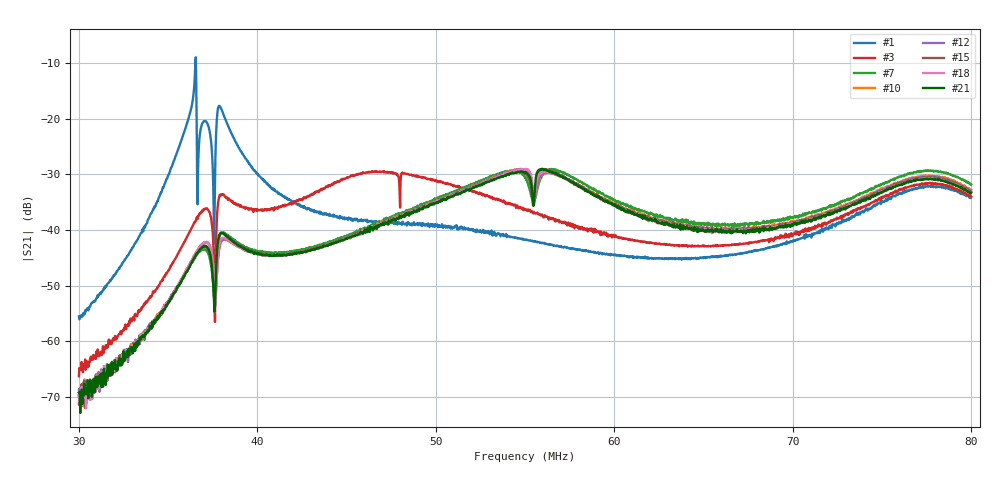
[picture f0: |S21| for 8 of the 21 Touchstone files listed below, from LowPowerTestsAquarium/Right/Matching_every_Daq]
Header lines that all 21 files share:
#  HZ  S  DB  R  50.00
! Rohde & Schwarz Vector Network Analyzer
! Rohde-Schwarz,ZNB8-4Port,1311601044102961,2.82
! freq[Hz]  db:S11  ang:S11  db:S12  ang:S12  db:S13  ang:S13  db:S14  ang:S14
!  db:S21  ang:S21  db:S22  ang:S22  db:S23  ang:S23  db:S24  ang:S24
!  db:S31  ang:S31  db:S32  ang:S32  db:S33  ang:S33  db:S34  ang:S34
!  db:S41  ang:S41  db:S42  ang:S42  db:S43  ang:S43  db:S44  ang:S44
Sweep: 30 MHz to 80 MHz
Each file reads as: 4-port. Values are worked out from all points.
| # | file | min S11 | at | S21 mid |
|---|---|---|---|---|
| 1 | IC3_Right_36p5MHz_DaqMLarge_1.s4p | -1.7 dB | 37.75 MHz | -41.8 dB at 55 MHz |
| 2 | IC3_Right_48p0MHz_DaqMLarge_1.s4p | -1.7 dB | 37.73 MHz | -36.1 dB at 55 MHz |
| 3 | IC3_Right_48p0MHz_DaqMLarge_3.s4p | -1.7 dB | 37.73 MHz | -36.4 dB at 55 MHz |
| 4 | IC3_Right_53p0MHz_DaqMLarge_1.s4p | -1.7 dB | 37.73 MHz | -30.9 dB at 55 MHz |
| 5 | IC3_Right_53p0MHz_DaqMLarge_3.s4p | -1.7 dB | 37.73 MHz | -30.9 dB at 55 MHz |
| 6 | IC3_Right_55p5MHz_DaqM00p0cm_1.s4p | -16.6 dB | 37.7 MHz | -29.9 dB at 55 MHz |
| 7 | IC3_Right_55p5MHz_DaqM00p0cm_3.s4p | -16.5 dB | 37.7 MHz | -30.6 dB at 55 MHz |
| 8 | IC3_Right_55p5MHz_DaqM01p0cm_1.s4p | -12.9 dB | 37.7 MHz | -29.5 dB at 55 MHz |
| 9 | IC3_Right_55p5MHz_DaqM01p0cm_3.s4p | -12.9 dB | 37.7 MHz | -30.3 dB at 55 MHz |
| 10 | IC3_Right_55p5MHz_DaqM02p0cm_1.s4p | -10.5 dB | 37.7 MHz | -29.3 dB at 55 MHz |
| 11 | IC3_Right_55p5MHz_DaqM02p0cm_3.s4p | -10.4 dB | 37.7 MHz | -30.2 dB at 55 MHz |
| 12 | IC3_Right_55p5MHz_DaqM03p0cm_1.s4p | -8.9 dB | 37.7 MHz | -29.3 dB at 55 MHz |
| 13 | IC3_Right_55p5MHz_DaqM03p0cm_3.s4p | -8.9 dB | 37.7 MHz | -30.1 dB at 55 MHz |
| 14 | IC3_Right_55p5MHz_DaqM04p0cm_1.s4p | -7.5 dB | 37.7 MHz | -29.1 dB at 55 MHz |
| 15 | IC3_Right_55p5MHz_DaqM04p0cm_3.s4p | -7.6 dB | 37.7 MHz | -30.0 dB at 55 MHz |
| 16 | IC3_Right_55p5MHz_DaqM05p0cm_1.s4p | -6.6 dB | 37.7 MHz | -29.2 dB at 55 MHz |
| 17 | IC3_Right_55p5MHz_DaqM05p0cm_3.s4p | -6.6 dB | 37.7 MHz | -29.8 dB at 55 MHz |
| 18 | IC3_Right_55p5MHz_DaqM06p0cm_1.s4p | -5.9 dB | 37.7 MHz | -29.1 dB at 55 MHz |
| 19 | IC3_Right_55p5MHz_DaqM06p0cm_3.s4p | -5.8 dB | 37.7 MHz | -29.7 dB at 55 MHz |
| 20 | IC3_Right_55p5MHz_DaqM07p0cm_1.s4p | -5.2 dB | 37.7 MHz | -29.2 dB at 55 MHz |
| 21 | IC3_Right_55p5MHz_DaqM07p0cm_3.s4p | -5.2 dB | 37.7 MHz | -29.6 dB at 55 MHz |
